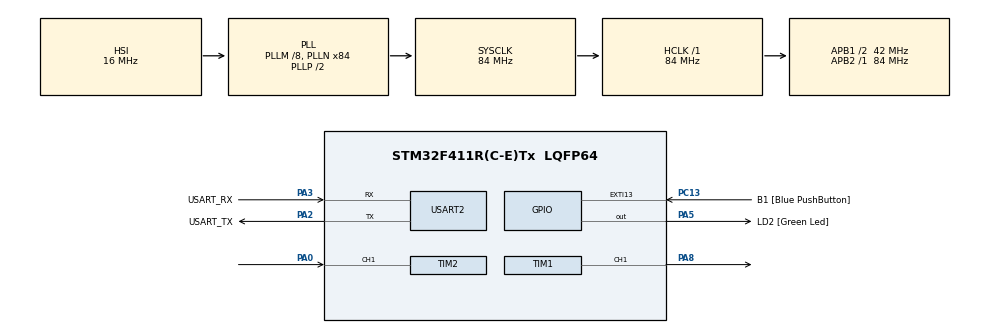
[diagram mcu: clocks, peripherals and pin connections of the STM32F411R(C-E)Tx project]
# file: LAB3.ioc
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Dma.Request0=TIM2_CH1
Dma.TIM2_CH1.0.Direction=DMA_PERIPH_TO_MEMORY
Dma.TIM2_CH1.0.FIFOMode=DMA_FIFOMODE_DISABLE
Dma.TIM2_CH1.0.Instance=DMA1_Stream5
Dma.TIM2_CH1.0.MemDataAlignment=DMA_MDATAALIGN_WORD
Dma.TIM2_CH1.0.MemInc=DMA_MINC_ENABLE
Dma.TIM2_CH1.0.Mode=DMA_CIRCULAR
Dma.TIM2_CH1.0.PeriphDataAlignment=DMA_PDATAALIGN_WORD
Dma.TIM2_CH1.0.PeriphInc=DMA_PINC_DISABLE
Dma.TIM2_CH1.0.Priority=DMA_PRIORITY_LOW
Mcu.Family=STM32F4
Mcu.Name=STM32F411R(C-E)Tx
Mcu.Package=LQFP64
NVIC.DMA1_Stream5_IRQn=true\:0\:0\:false\:false\:true\:false\:true\:true
NVIC.PriorityGroup=NVIC_PRIORITYGROUP_0
PA0-WKUP.Signal=S_TIM2_CH1_ETR
PA13.GPIO_Label=TMS
PA13.Mode=Serial_Wire
PA13.Signal=SYS_JTMS-SWDIO
PA14.GPIO_Label=TCK
PA14.Mode=Serial_Wire
PA14.Signal=SYS_JTCK-SWCLK
PA2.GPIO_Label=USART_TX
PA2.Mode=Asynchronous
PA2.Signal=USART2_TX
PA3.GPIO_Label=USART_RX
PA3.Mode=Asynchronous
PA3.Signal=USART2_RX
PA5.GPIO_Label=LD2 [Green Led]
PA5.Signal=GPIO_Output
PA8.Signal=S_TIM1_CH1
PB3.GPIO_Label=SWO
PB3.Signal=SYS_JTDO-SWO
PC13-ANTI_TAMP.GPIO_Label=B1 [Blue PushButton]
PC13-ANTI_TAMP.GPIO_ModeDefaultEXTI=GPIO_MODE_IT_FALLING
PC13-ANTI_TAMP.Signal=GPXTI13
PC14-OSC32_IN.Mode=LSE-External-Oscillator
PC14-OSC32_IN.Signal=RCC_OSC32_IN
PC15-OSC32_OUT.Mode=LSE-External-Oscillator
PC15-OSC32_OUT.Signal=RCC_OSC32_OUT
PH0\ -\ OSC_IN.Mode=HSE-External-Clock-Source
PH0\ -\ OSC_IN.Signal=RCC_OSC_IN
PH1\ -\ OSC_OUT.Mode=HSE-External-Clock-Source
PH1\ -\ OSC_OUT.Signal=RCC_OSC_OUT
ProjectManager.HeapSize=0x200
ProjectManager.StackSize=0x400
ProjectManager.TargetToolchain=STM32CubeIDE
RCC.48MHZClocksFreq_Value=42000000
RCC.AHBFreq_Value=84000000
RCC.APB1CLKDivider=RCC_HCLK_DIV2
RCC.APB1Freq_Value=42000000
RCC.APB1TimFreq_Value=84000000
RCC.APB2Freq_Value=84000000
RCC.APB2TimFreq_Value=84000000
RCC.CortexFreq_Value=84000000
RCC.FLatency-AdvancedSettings=FLASH_LATENCY_2
RCC.HCLKFreq_Value=84000000
RCC.HSE_VALUE=8000000
RCC.HSI_VALUE=16000000
RCC.PLLM=8
RCC.PLLN=84
RCC.SYSCLKFreq_VALUE=84000000
RCC.SYSCLKSource=RCC_SYSCLKSOURCE_PLLCLK
RCC.VCOOutputFreq_Value=168000000
SH.S_TIM1_CH1.0=TIM1_CH1,PWM Generation1 CH1
SH.S_TIM2_CH1_ETR.0=TIM2_CH1,Input_Capture1_from_TI1
TIM1.Channel-PWM\ Generation1\ CH1=TIM_CHANNEL_1
TIM1.Period=999
TIM1.Prescaler=83
TIM1.Pulse-PWM\ Generation1\ CH1=500
TIM2.Channel-Input_Capture1_from_TI1=TIM_CHANNEL_1
TIM2.Prescaler=83
USART2.VirtualMode=VM_ASYNC
VP_TIM1_VS_ClockSourceINT.Mode=Internal
VP_TIM2_VS_ClockSourceINT.Mode=Internal
board=NUCLEO-F411RE

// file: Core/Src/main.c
/* USER CODE BEGIN Header */
/**
  ******************************************************************************
  * @file           : main.c
  * @brief          : Main program body
  ******************************************************************************
  * @attention
  *
  * Copyright (c) 2023 STMicroelectronics.
  * All rights reserved.
  *
  * This software is licensed under terms that can be found in the LICENSE file
  * in the root directory of this software component.
  * If no LICENSE file comes with this software, it is provided AS-IS.
  *
  ******************************************************************************
  */
/* USER CODE END Header */
#include "main.h"

/* USER CODE BEGIN Includes */
#define IC_BUFFER_SIZE 20
/* USER CODE END Includes */

TIM_HandleTypeDef htim1;
TIM_HandleTypeDef htim2;
DMA_HandleTypeDef hdma_tim2_ch1;

UART_HandleTypeDef huart2;

/* USER CODE BEGIN PV */

// Input Capture
uint32_t InputCaptureBuffer[IC_BUFFER_SIZE];

// Variable For MotorSetDuty
float MotorSetDuty = 100;

// Variable For MotorReadRPM
float MotorReadRPM = 0;
float Time_1_Input = 0;
uint32_t i = 0;
uint32_t sumdiff = 0;
uint32_t currentDMAPointer = 0;
uint32_t lastVaildDMAPointer = 0;
uint32_t firstCapture = 0;
uint32_t NextCapture = 0;

// Variable to select MotorSetDuty or MotorSetRPM
uint32_t MotorControlEnable = 0;

// Variable For MotorSetRPM
uint32_t MotorSetRPM = 0;
uint32_t last_MotorSetRPM = 0;

/* USER CODE END PV */

void SystemClock_Config(void);
static void MX_GPIO_Init(void);
static void MX_DMA_Init(void);
static void MX_USART2_UART_Init(void);
static void MX_TIM2_Init(void);
static void MX_TIM1_Init(void);
/* USER CODE BEGIN PFP */
float IC_Calc_Period();
float Set_RPM(float MotorSetRPM,float MotorReadRPM);
/* USER CODE END PFP */

int main(void)
{

  /* MCU Configuration--------------------------------------------------------*/

  /* Reset of all peripherals, Initializes the Flash interface and the Systick. */
  HAL_Init();

  /* Configure the system clock */
  SystemClock_Config();

  /* Initialize all configured peripherals */
  MX_GPIO_Init();
  MX_DMA_Init();
  MX_USART2_UART_Init();
  MX_TIM2_Init();
  MX_TIM1_Init();
  /* USER CODE BEGIN 2 */

  HAL_TIM_Base_Start(&htim2);
  HAL_TIM_IC_Start_DMA(&htim2, TIM_CHANNEL_1, InputCaptureBuffer, IC_BUFFER_SIZE);

  HAL_TIM_Base_Start(&htim1);
  HAL_TIM_PWM_Start(&htim1, TIM_CHANNEL_1);

  /* USER CODE END 2 */

  /* Infinite loop */
  while (1)
  {

    /* USER CODE BEGIN 3 */
	  static uint32_t timestamp = 0;
	  if (HAL_GetTick()>= timestamp)			   // Frequency 250 ms to get value
	  {
		  timestamp = HAL_GetTick()+250;
		  Time_1_Input = IC_Calc_Period()/5.0;	   // avg time per 1 input
		  MotorReadRPM = (1000000.0*60.0)/(64.0*Time_1_Input*12.0);

		  if (MotorControlEnable == 1)			   // MotorSetRPM
		  {
			  if (MotorSetRPM != last_MotorSetRPM) // MotorSetRPM has change
			  {
				  MotorSetDuty = (MotorSetRPM*100.0)/21.0;	// compare to find duty
			  }
			  if (MotorReadRPM > MotorSetRPM)	   // if RPM is not equal, adjust duty
			  {
				  MotorSetDuty -= 1;
			  }
			  else if (MotorReadRPM < MotorSetRPM)
			  {
				  MotorSetDuty += 1;
			  }
			  last_MotorSetRPM = MotorSetRPM;	   // keep last RPM
		  }
		  __HAL_TIM_SET_COMPARE(&htim1, TIM_CHANNEL_1, MotorSetDuty*10.0);
	  }
  }
  /* USER CODE END 3 */
}

void SystemClock_Config(void)
{
  RCC_OscInitTypeDef RCC_OscInitStruct = {0};
  RCC_ClkInitTypeDef RCC_ClkInitStruct = {0};

  /** Configure the main internal regulator output voltage
  */
  __HAL_RCC_PWR_CLK_ENABLE();
  __HAL_PWR_VOLTAGESCALING_CONFIG(PWR_REGULATOR_VOLTAGE_SCALE1);

  /** Initializes the RCC Oscillators according to the specified parameters
  * in the RCC_OscInitTypeDef structure.
  */
  RCC_OscInitStruct.OscillatorType = RCC_OSCILLATORTYPE_HSI;
  RCC_OscInitStruct.HSIState = RCC_HSI_ON;
  RCC_OscInitStruct.HSICalibrationValue = RCC_HSICALIBRATION_DEFAULT;
  RCC_OscInitStruct.PLL.PLLState = RCC_PLL_ON;
  RCC_OscInitStruct.PLL.PLLSource = RCC_PLLSOURCE_HSI;
  RCC_OscInitStruct.PLL.PLLM = 8;
  RCC_OscInitStruct.PLL.PLLN = 84;
  RCC_OscInitStruct.PLL.PLLP = RCC_PLLP_DIV2;
  RCC_OscInitStruct.PLL.PLLQ = 4;
  if (HAL_RCC_OscConfig(&RCC_OscInitStruct) != HAL_OK)
  {
    Error_Handler();
  }

  /** Initializes the CPU, AHB and APB buses clocks
  */
  RCC_ClkInitStruct.ClockType = RCC_CLOCKTYPE_HCLK|RCC_CLOCKTYPE_SYSCLK
                              |RCC_CLOCKTYPE_PCLK1|RCC_CLOCKTYPE_PCLK2;
  RCC_ClkInitStruct.SYSCLKSource = RCC_SYSCLKSOURCE_PLLCLK;
  RCC_ClkInitStruct.AHBCLKDivider = RCC_SYSCLK_DIV1;
  RCC_ClkInitStruct.APB1CLKDivider = RCC_HCLK_DIV2;
  RCC_ClkInitStruct.APB2CLKDivider = RCC_HCLK_DIV1;

  if (HAL_RCC_ClockConfig(&RCC_ClkInitStruct, FLASH_LATENCY_2) != HAL_OK)
  {
    Error_Handler();
  }
}

static void MX_TIM1_Init(void)
{

  TIM_ClockConfigTypeDef sClockSourceConfig = {0};
  TIM_MasterConfigTypeDef sMasterConfig = {0};
  TIM_OC_InitTypeDef sConfigOC = {0};
  TIM_BreakDeadTimeConfigTypeDef sBreakDeadTimeConfig = {0};

  htim1.Instance = TIM1;
  htim1.Init.Prescaler = 83;
  htim1.Init.CounterMode = TIM_COUNTERMODE_UP;
  htim1.Init.Period = 999;
  htim1.Init.ClockDivision = TIM_CLOCKDIVISION_DIV1;
  htim1.Init.RepetitionCounter = 0;
  htim1.Init.AutoReloadPreload = TIM_AUTORELOAD_PRELOAD_DISABLE;
  if (HAL_TIM_Base_Init(&htim1) != HAL_OK)
  {
    Error_Handler();
  }
  sClockSourceConfig.ClockSource = TIM_CLOCKSOURCE_INTERNAL;
  if (HAL_TIM_ConfigClockSource(&htim1, &sClockSourceConfig) != HAL_OK)
  {
    Error_Handler();
  }
  if (HAL_TIM_PWM_Init(&htim1) != HAL_OK)
  {
    Error_Handler();
  }
  sMasterConfig.MasterOutputTrigger = TIM_TRGO_RESET;
  sMasterConfig.MasterSlaveMode = TIM_MASTERSLAVEMODE_DISABLE;
  if (HAL_TIMEx_MasterConfigSynchronization(&htim1, &sMasterConfig) != HAL_OK)
  {
    Error_Handler();
  }
  sConfigOC.OCMode = TIM_OCMODE_PWM1;
  sConfigOC.Pulse = 500;
  sConfigOC.OCPolarity = TIM_OCPOLARITY_HIGH;
  sConfigOC.OCNPolarity = TIM_OCNPOLARITY_HIGH;
  sConfigOC.OCFastMode = TIM_OCFAST_DISABLE;
  sConfigOC.OCIdleState = TIM_OCIDLESTATE_RESET;
  sConfigOC.OCNIdleState = TIM_OCNIDLESTATE_RESET;
  if (HAL_TIM_PWM_ConfigChannel(&htim1, &sConfigOC, TIM_CHANNEL_1) != HAL_OK)
  {
    Error_Handler();
  }
  sBreakDeadTimeConfig.OffStateRunMode = TIM_OSSR_DISABLE;
  sBreakDeadTimeConfig.OffStateIDLEMode = TIM_OSSI_DISABLE;
  sBreakDeadTimeConfig.LockLevel = TIM_LOCKLEVEL_OFF;
  sBreakDeadTimeConfig.DeadTime = 0;
  sBreakDeadTimeConfig.BreakState = TIM_BREAK_DISABLE;
  sBreakDeadTimeConfig.BreakPolarity = TIM_BREAKPOLARITY_HIGH;
  sBreakDeadTimeConfig.AutomaticOutput = TIM_AUTOMATICOUTPUT_DISABLE;
  if (HAL_TIMEx_ConfigBreakDeadTime(&htim1, &sBreakDeadTimeConfig) != HAL_OK)
  {
    Error_Handler();
  }
  HAL_TIM_MspPostInit(&htim1);

}

static void MX_TIM2_Init(void)
{

  TIM_ClockConfigTypeDef sClockSourceConfig = {0};
  TIM_MasterConfigTypeDef sMasterConfig = {0};
  TIM_IC_InitTypeDef sConfigIC = {0};

  htim2.Instance = TIM2;
  htim2.Init.Prescaler = 83;
  htim2.Init.CounterMode = TIM_COUNTERMODE_UP;
  htim2.Init.Period = 4294967295;
  htim2.Init.ClockDivision = TIM_CLOCKDIVISION_DIV1;
  htim2.Init.AutoReloadPreload = TIM_AUTORELOAD_PRELOAD_DISABLE;
  if (HAL_TIM_Base_Init(&htim2) != HAL_OK)
  {
    Error_Handler();
  }
  sClockSourceConfig.ClockSource = TIM_CLOCKSOURCE_INTERNAL;
  if (HAL_TIM_ConfigClockSource(&htim2, &sClockSourceConfig) != HAL_OK)
  {
    Error_Handler();
  }
  if (HAL_TIM_IC_Init(&htim2) != HAL_OK)
  {
    Error_Handler();
  }
  sMasterConfig.MasterOutputTrigger = TIM_TRGO_RESET;
  sMasterConfig.MasterSlaveMode = TIM_MASTERSLAVEMODE_DISABLE;
  if (HAL_TIMEx_MasterConfigSynchronization(&htim2, &sMasterConfig) != HAL_OK)
  {
    Error_Handler();
  }
  sConfigIC.ICPolarity = TIM_INPUTCHANNELPOLARITY_RISING;
  sConfigIC.ICSelection = TIM_ICSELECTION_DIRECTTI;
  sConfigIC.ICPrescaler = TIM_ICPSC_DIV1;
  sConfigIC.ICFilter = 0;
  if (HAL_TIM_IC_ConfigChannel(&htim2, &sConfigIC, TIM_CHANNEL_1) != HAL_OK)
  {
    Error_Handler();
  }

}

static void MX_USART2_UART_Init(void)
{

  huart2.Instance = USART2;
  huart2.Init.BaudRate = 115200;
  huart2.Init.WordLength = UART_WORDLENGTH_8B;
  huart2.Init.StopBits = UART_STOPBITS_1;
  huart2.Init.Parity = UART_PARITY_NONE;
  huart2.Init.Mode = UART_MODE_TX_RX;
  huart2.Init.HwFlowCtl = UART_HWCONTROL_NONE;
  huart2.Init.OverSampling = UART_OVERSAMPLING_16;
  if (HAL_UART_Init(&huart2) != HAL_OK)
  {
    Error_Handler();
  }

}

static void MX_DMA_Init(void)
{

  /* DMA controller clock enable */
  __HAL_RCC_DMA1_CLK_ENABLE();

  /* DMA interrupt init */
  /* DMA1_Stream5_IRQn interrupt configuration */
  HAL_NVIC_SetPriority(DMA1_Stream5_IRQn, 0, 0);
  HAL_NVIC_EnableIRQ(DMA1_Stream5_IRQn);

}

static void MX_GPIO_Init(void)
{
  GPIO_InitTypeDef GPIO_InitStruct = {0};

  /* GPIO Ports Clock Enable */
  __HAL_RCC_GPIOC_CLK_ENABLE();
  __HAL_RCC_GPIOH_CLK_ENABLE();
  __HAL_RCC_GPIOA_CLK_ENABLE();
  __HAL_RCC_GPIOB_CLK_ENABLE();

  /*Configure GPIO pin Output Level */
  HAL_GPIO_WritePin(LD2_GPIO_Port, LD2_Pin, GPIO_PIN_RESET);

  /*Configure GPIO pin : B1_Pin */
  GPIO_InitStruct.Pin = B1_Pin;
  GPIO_InitStruct.Mode = GPIO_MODE_IT_FALLING;
  GPIO_InitStruct.Pull = GPIO_NOPULL;
  HAL_GPIO_Init(B1_GPIO_Port, &GPIO_InitStruct);

  /*Configure GPIO pin : LD2_Pin */
  GPIO_InitStruct.Pin = LD2_Pin;
  GPIO_InitStruct.Mode = GPIO_MODE_OUTPUT_PP;
  GPIO_InitStruct.Pull = GPIO_NOPULL;
  GPIO_InitStruct.Speed = GPIO_SPEED_FREQ_LOW;
  HAL_GPIO_Init(LD2_GPIO_Port, &GPIO_InitStruct);

}

/* USER CODE BEGIN 4 */
float IC_Calc_Period()
{
	currentDMAPointer = IC_BUFFER_SIZE - __HAL_DMA_GET_COUNTER((htim2.hdma[1]));
	lastVaildDMAPointer = (currentDMAPointer-1 + IC_BUFFER_SIZE) % IC_BUFFER_SIZE;
	i = (lastVaildDMAPointer + IC_BUFFER_SIZE - 5) % IC_BUFFER_SIZE;

	sumdiff = 0;

	while (i != lastVaildDMAPointer)
	{
		firstCapture = InputCaptureBuffer[i];

		NextCapture = InputCaptureBuffer[(i+1)%IC_BUFFER_SIZE];
		sumdiff += NextCapture - firstCapture;
		i = (i+1) % IC_BUFFER_SIZE;
	}
	return sumdiff;
}
/* USER CODE END 4 */

void Error_Handler(void)
{
  __disable_irq();
  while (1)
  {
  }
}
